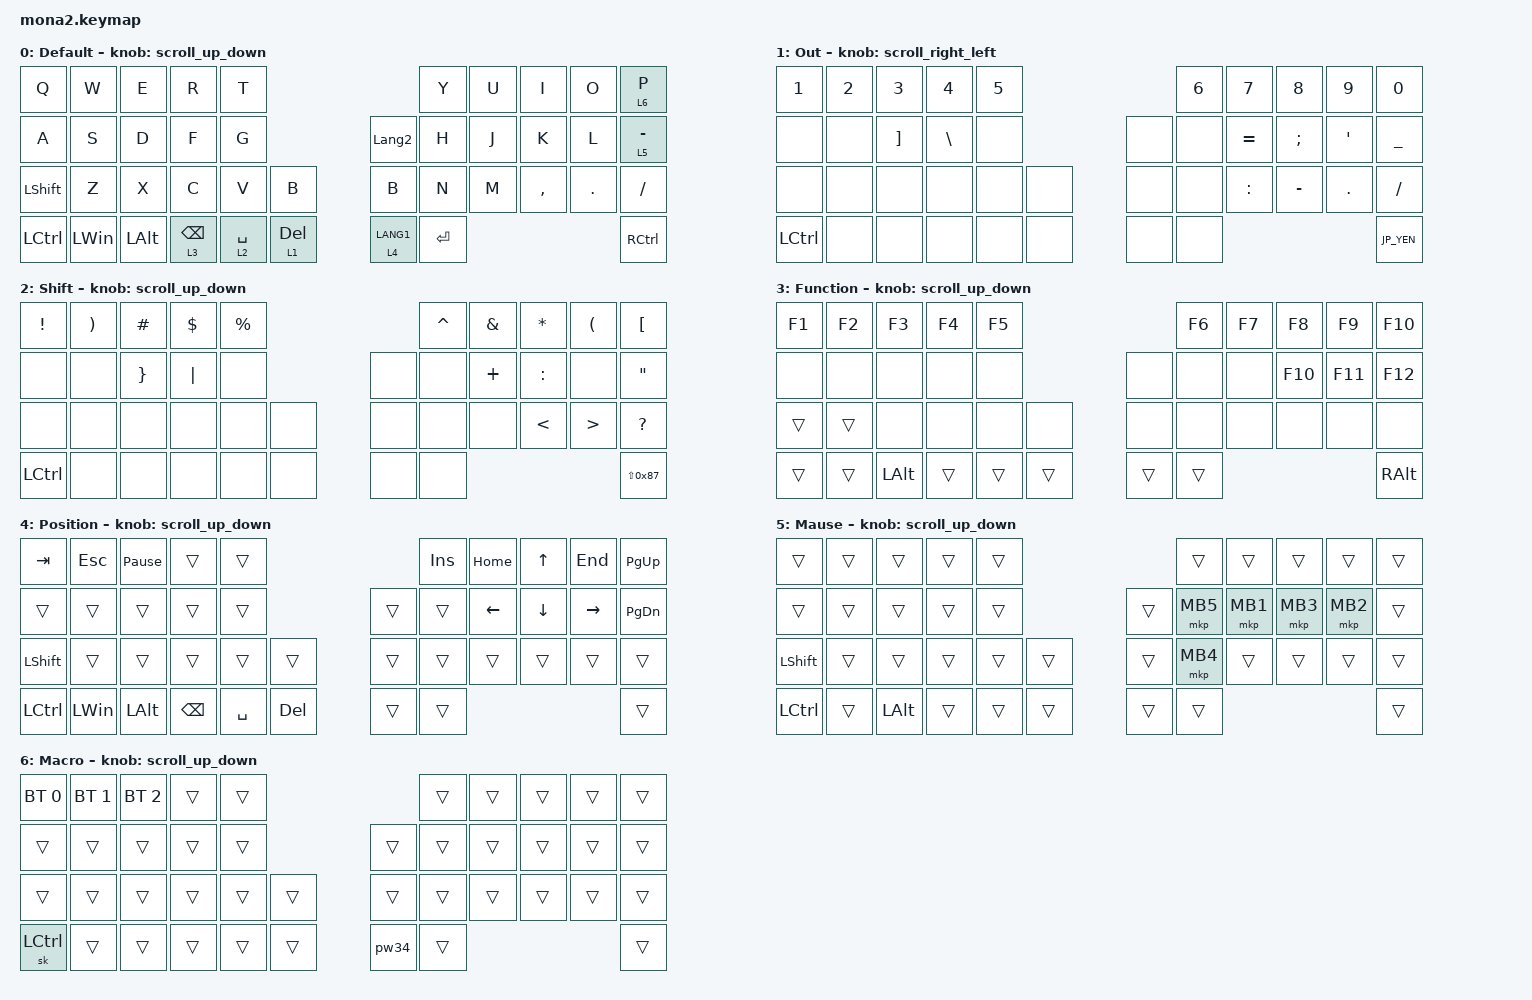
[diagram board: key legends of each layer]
#include <input/processors.dtsi>
#include <dt-bindings/zmk/input_transform.h>
#include <zephyr/dt-bindings/input/input-event-codes.h>
#include <behaviors.dtsi>
#include <dt-bindings/zmk/bt.h>
#include <dt-bindings/zmk/keys.h>
#include <dt-bindings/zmk/pointing.h>

#define ZMK_POINTING_DEFAULT_SCRL_VAL 100
#define MOUSE 5
#define SCROLL 6
#define JP_DQUOTE       AT                // "
#define JP_AMPERSAND    CARET             // &
#define JP_QUOTE        AMPERSAND         // '
#define JP_EQUAL        UNDER             // =
#define JP_CARET        EQUAL             // ^
#define JP_YEN          0x89              // ¥
#define JP_PLUS         COLON             // +
#define JP_TILDE        PLUS              // ~
#define JP_PIPE         LS(0x89)          // |
#define JP_AT           LEFT_BRACKET      // @
#define JP_COLON        SINGLE_QUOTE      // :
#define JP_ASTERISK     DOUBLE_QUOTES     // *
#define JP_BACKQUOTE    LEFT_BRACE        // `
#define JP_UNDERSCORE   LS(0x87)          // _
#define JP_LBRACKET     RIGHT_BRACKET     // [
#define JP_RBRACKET     BACKSLASH         // ]
#define JP_LPAREN       ASTERISK          // (
#define JP_RPAREN       LEFT_PARENTHESIS  // )
#define JP_LBRACE       RIGHT_BRACE       // {
#define JP_RBRACE       PIPE              // }
#define JP_KANA         LANGUAGE_1        // かな
#define JP_EISU         LANGUAGE_2        // 英数
#define JP_HANZEN       GRAVE             // 半角/全角
#define JP_BSLH  INT1         // (backslash)

&mt {
    flavor = "balanced";
    quick-tap-ms = <0>;
};

&lt {
    quick-tap-ms = <150>;
    flavor = "tap-preferred";
};

/ {
    combos { compatible = "zmk,combos"; };

    macros {
        to_layer_0: to_layer_0 {
            compatible = "zmk,behavior-macro-one-param";
            #binding-cells = <1>;
            bindings = <&to 0 &macro_param_1to1 &kp MACRO_PLACEHOLDER>;
            label = "TO_LAYER_0";
        };

        pw34: pw34 {
            compatible = "zmk,behavior-macro";
            #binding-cells = <0>;
            bindings = <&kp N3 &kp N4 &kp E &kp R &kp POUND &kp DLLR &kp LS(E) &kp LS(R)>;
            label = "PW34";
        };
    };

    behaviors {
        lt_to_layer_0: lt_to_layer_0 {
            compatible = "zmk,behavior-hold-tap";
            label = "LAYER_TAP_TO_0";
            bindings = <&mo>, <&to_layer_0>;

            #binding-cells = <2>;
            tapping-term-ms = <200>;
        };

        scroll_up_down: mouse_wheel_up_down {
            compatible = "zmk,behavior-sensor-rotate";
            #sensor-binding-cells = <0>;
            bindings = <&msc SCRL_DOWN>, <&msc SCRL_UP>;

            tap-ms = <20>;
        };

        scroll_slow: scroll_up_down_slow {
            compatible = "zmk,behavior-sensor-rotate";
            #sensor-binding-cells = <0>;
            bindings = <&msc SCRL_DOWN>, <&msc SCRL_UP>;

            tap-ms = <80>;   // 遅い
        };

        scroll_fast: scroll_up_down_fast {
            compatible = "zmk,behavior-sensor-rotate";
            #sensor-binding-cells = <0>;
            bindings = <&msc SCRL_DOWN>, <&msc SCRL_UP>;

            tap-ms = <5>;   // 速い
        };

        scroll_right_left: mouse_wheel_right_left {
            compatible = "zmk,behavior-sensor-rotate";
            #sensor-binding-cells = <0>;
            bindings = <&msc SCRL_RIGHT>, <&msc SCRL_LEFT>;

            tap-ms = <20>;
        };
    };

    keymap {
        compatible = "zmk,keymap";

        Default {
            bindings = <
&kp Q           &kp W         &kp E         &kp R            &kp T                                                           &kp Y      &kp U  &kp I      &kp O    &lt 6 P
&kp A           &kp S         &kp D         &kp F            &kp G                                   &kp LANGUAGE_2          &kp H      &kp J  &kp K      &kp L    &lt 5 MINUS
&kp LEFT_SHIFT  &kp Z         &kp X         &kp C            &kp V        &kp B                      &kp B                   &kp N      &kp M  &kp COMMA  &kp DOT  &kp SLASH
&kp LCTRL       &kp LEFT_WIN  &kp LEFT_ALT  &lt 3 BACKSPACE  &lt 2 SPACE  &lt_to_layer_0 1 DELETE    &lt_to_layer_0 4 LANG1  &kp ENTER                             &kp RIGHT_CONTROL
            >;

            sensor-bindings = <&scroll_up_down>;
        };

        Out {
            bindings = <
&kp NUMBER_1  &kp NUMBER_2  &kp NUMBER_3     &kp NUMBER_4     &kp NUMBER_5                  &kp NUMBER_6  &kp NUMBER_7  &kp NUMBER_8   &kp NUMBER_9      &kp NUMBER_0
&none         &none         &kp JP_LBRACKET  &kp JP_RBRACKET  &none                  &none  &none         &kp EQUAL     &kp SEMICOLON  &kp SINGLE_QUOTE  &kp UNDERSCORE
&none         &none         &none            &none            &none         &none    &none  &none         &kp COLON     &kp MINUS      &kp PERIOD        &kp SLASH
&kp LCTRL     &none         &none            &none            &none         &none    &none  &none                                                        &kp JP_YEN
            >;

            sensor-bindings = <&scroll_right_left>;
        };

        Shift {
            bindings = <
&kp EXCLAMATION  &kp RIGHT_PARENTHESIS  &kp POUND        &kp DOLLAR     &kp PERCENT                    &kp CARET  &kp AMPERSAND  &kp ASTERISK   &kp LEFT_PARENTHESIS  &kp LEFT_BRACKET
&none           &none                 &kp RIGHT_BRACE  &kp JP_RBRACE  &none                 &none  &none     &kp PLUS       &kp COLON      &none                &kp DOUBLE_QUOTES
&none           &none                 &none           &none         &none       &none    &none  &none     &none         &kp LESS_THAN  &kp GREATER_THAN      &kp QUESTION
&kp LCTRL        &none                 &none           &none         &none       &none    &none  &none                                                         &kp JP_UNDERSCORE
            >;

            sensor-bindings = <&scroll_up_down>;
        };

        Function {
            bindings = <
&kp F1  &kp F2  &kp F3        &kp F4  &kp F5                    &kp F6  &kp F7  &kp F8   &kp F9   &kp F10
&none  &none  &none        &none  &none            &none  &none  &none  &kp F10  &kp F11  &kp F12
&trans  &trans  &none        &none  &none  &none    &none  &none  &none  &none   &none   &none
&trans  &trans  &kp LEFT_ALT  &trans  &trans  &trans    &trans  &trans                            &kp RIGHT_ALT
            >;

            sensor-bindings = <&scroll_up_down>;
        };

        Position {
            bindings = <
&kp TAB           &kp ESCAPE    &kp PAUSE_BREAK  &trans         &trans                           &kp INSERT  &kp HOME        &kp UP_ARROW    &kp END          &kp PAGE_UP
&trans            &trans        &trans           &trans         &trans                   &trans  &trans      &kp LEFT_ARROW  &kp DOWN_ARROW  &kp RIGHT_ARROW  &kp PAGE_DOWN
&kp LEFT_SHIFT    &trans        &trans           &trans         &trans     &trans        &trans  &trans      &trans          &trans          &trans           &trans
&kp LEFT_CONTROL  &kp LEFT_WIN  &kp LEFT_ALT     &kp BACKSPACE  &kp SPACE  &kp DELETE    &trans  &trans                                                       &trans
            >;

            sensor-bindings = <&scroll_up_down>;
        };

        Mause {
            bindings = <
&trans          &trans  &trans        &trans  &trans                    &trans    &trans    &trans    &trans    &trans
&trans          &trans  &trans        &trans  &trans            &trans  &mkp MB5  &mkp MB1  &mkp MB3  &mkp MB2  &trans
&kp LEFT_SHIFT  &trans  &trans        &trans  &trans  &trans    &trans  &mkp MB4  &trans    &trans    &trans    &trans
&kp LCTRL       &trans  &kp LEFT_ALT  &trans  &trans  &trans    &trans  &trans                                  &trans
            >;

            sensor-bindings = <&scroll_up_down>;
        };

        Macro {
            bindings = <
&bt BT_SEL 0  &bt BT_SEL 1  &bt BT_SEL 2  &trans  &trans                    &trans  &trans  &trans  &trans  &trans
&trans        &trans        &trans        &trans  &trans            &trans  &trans  &trans  &trans  &trans  &trans
&trans        &trans        &trans        &trans  &trans  &trans    &trans  &trans  &trans  &trans  &trans  &trans
&sk LCTRL     &trans        &trans        &trans  &trans  &trans    &pw34   &trans                          &trans
            >;

            sensor-bindings = <&scroll_up_down>;
        };
    };
};
